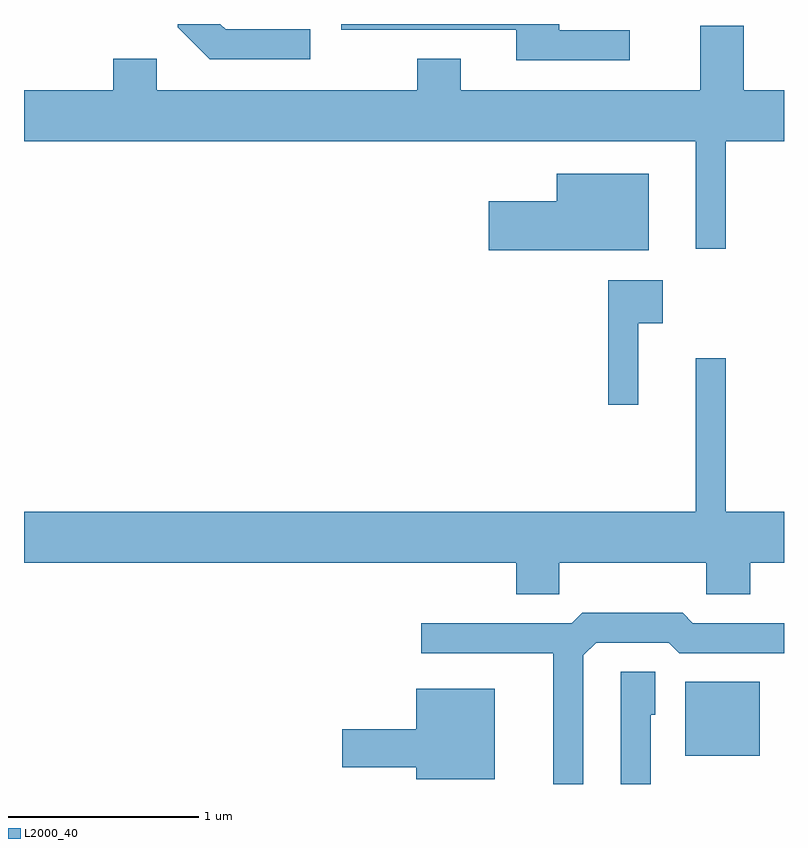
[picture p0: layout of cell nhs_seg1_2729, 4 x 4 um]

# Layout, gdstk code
import gdstk
lib = gdstk.Library(unit=1e-6, precision=1e-09)
def R(c, l, rs):  # rectangles x0, y0, x1, y1
    for r in rs: c.add(gdstk.rectangle(r[:2], r[2:], *l))
def P(c, l, *ps):  # polygons
    for p in ps: c.add(gdstk.Polygon(p, *l))
L2000_40 = (2000, 40)

nhs_seg1_2729 = lib.new_cell('nhs_seg1_2729')
R(nhs_seg1_2729, L2000_40, [(271.091,931.861,271.484,932.249)])
P(nhs_seg1_2729, L2000_40, [(270.798,935.679),(270.429,935.679),(270.429,935.712),(269.281,935.712),(269.281,935.681),(270.201,935.681),(270.201,935.521),(270.798,935.521)],
  [(269.118,935.684),(268.672,935.684),(268.644,935.712),(268.421,935.712),(268.421,935.694),(268.589,935.526),(269.118,935.526)],
  [(271.304,935.096),(271.611,935.096),(271.611,935.364),(271.399,935.364),(271.399,935.704),(271.171,935.704),(271.171,935.364),(269.909,935.364),(269.909,935.529),(269.681,935.529),(269.681,935.364),(268.309,935.364),(268.309,935.529),(268.081,935.529),(268.081,935.364),(267.611,935.364),(267.611,935.096),(271.146,935.096),(271.146,934.528),(271.304,934.528)],
  [(270.899,934.924),(270.416,934.924),(270.416,934.779),(270.056,934.779),(270.056,934.521),(270.899,934.521)],
  [(270.844,934.136),(270.974,934.136),(270.974,934.364),(270.686,934.364),(270.686,933.708),(270.844,933.708)],
  [(270.429,932.876),(271.201,932.876),(271.201,932.711),(271.434,932.711),(271.434,932.876),(271.611,932.876),(271.611,933.144),(271.304,933.144),(271.304,933.953),(271.146,933.953),(271.146,933.144),(267.611,933.144),(267.611,932.876),(270.201,932.876),(270.201,932.711),(270.429,932.711)],
  [(270.554,932.389),(270.622,932.456),(271.004,932.456),(271.059,932.401),(271.611,932.401),(271.611,932.559),(271.132,932.559),(271.077,932.614),(270.549,932.614),(270.494,932.559),(269.703,932.559),(269.703,932.401),(270.396,932.401),(270.396,931.712),(270.554,931.712)],
  [(270.909,932.076),(270.934,932.076),(270.934,932.304),(270.751,932.304),(270.751,931.712),(270.909,931.712)],
  [(270.089,932.214),(269.676,932.214),(269.676,931.999),(269.286,931.999),(269.286,931.801),(269.676,931.801),(269.676,931.736),(270.089,931.736)])

lib.write_gds('nhs_seg1_2729.gds')
